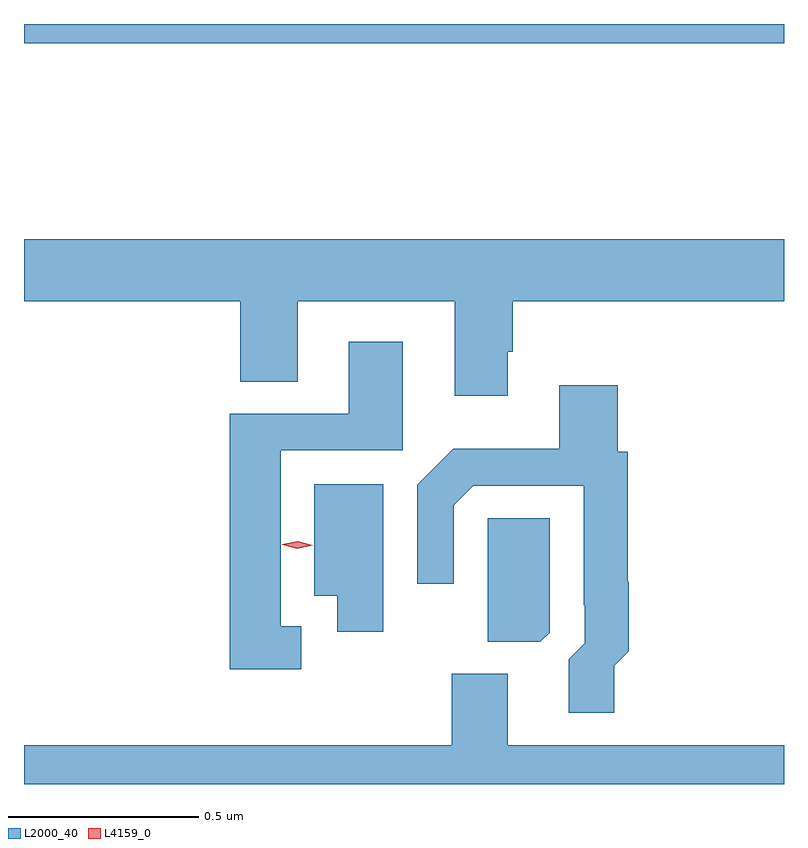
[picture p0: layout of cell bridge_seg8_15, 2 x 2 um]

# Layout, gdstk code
import gdstk
lib = gdstk.Library(unit=1e-6, precision=1e-09)
def R(c, l, rs):  # rectangles x0, y0, x1, y1
    for r in rs: c.add(gdstk.rectangle(r[:2], r[2:], *l))
def P(c, l, *ps):  # polygons
    for p in ps: c.add(gdstk.Polygon(p, *l))
L2000_40 = (2000, 40)
L4159_0 = (4159, 0)

bridge_seg8_15 = lib.new_cell('bridge_seg8_15')
R(bridge_seg8_15, L2000_40, [(968.448,1143.82,970.448,1143.87)])
P(bridge_seg8_15, L2000_40, [(969.721,1143.007),(969.734,1143.007),(969.734,1143.14),(970.448,1143.14),(970.448,1143.304),(968.448,1143.304),(968.448,1143.14),(969.017,1143.14),(969.017,1142.929),(969.169,1142.929),(969.169,1143.14),(969.581,1143.14),(969.581,1142.892),(969.721,1142.892)],
  [(969.178,1142.285),(969.124,1142.285),(969.124,1142.748),(969.445,1142.748),(969.445,1143.034),(969.302,1143.034),(969.302,1142.844),(968.99,1142.844),(968.99,1142.172),(969.178,1142.172)],
  [(970.001,1142.181),(970.04,1142.22),(970.04,1142.402),(970.037,1142.402),(970.037,1142.745),(970.01,1142.745),(970.01,1142.92),(969.857,1142.92),(969.857,1142.752),(969.577,1142.752),(969.483,1142.658),(969.483,1142.397),(969.579,1142.397),(969.579,1142.604),(969.63,1142.655),(969.921,1142.655),(969.921,1142.341),(969.924,1142.341),(969.924,1142.241),(969.881,1142.198),(969.881,1142.058),(970.001,1142.058)],
  [(969.394,1142.659),(969.212,1142.659),(969.212,1142.366),(969.272,1142.366),(969.272,1142.271),(969.394,1142.271)],
  [(969.831,1142.268),(969.831,1142.57),(969.669,1142.57),(969.669,1142.459),(969.668,1142.459),(969.668,1142.245),(969.807,1142.245)],
  [(970.448,1141.972),(969.721,1141.972),(969.721,1142.16),(969.574,1142.16),(969.574,1141.972),(968.448,1141.972),(968.448,1141.87),(970.448,1141.87)])
P(bridge_seg8_15, L4159_0, [(969.167,1142.489),(969.128,1142.5),(969.128,1142.5),(969.128,1142.501),(969.168,1142.509),(969.208,1142.498),(969.208,1142.498),(969.208,1142.498)])

lib.write_gds('bridge_seg8_15.gds')
